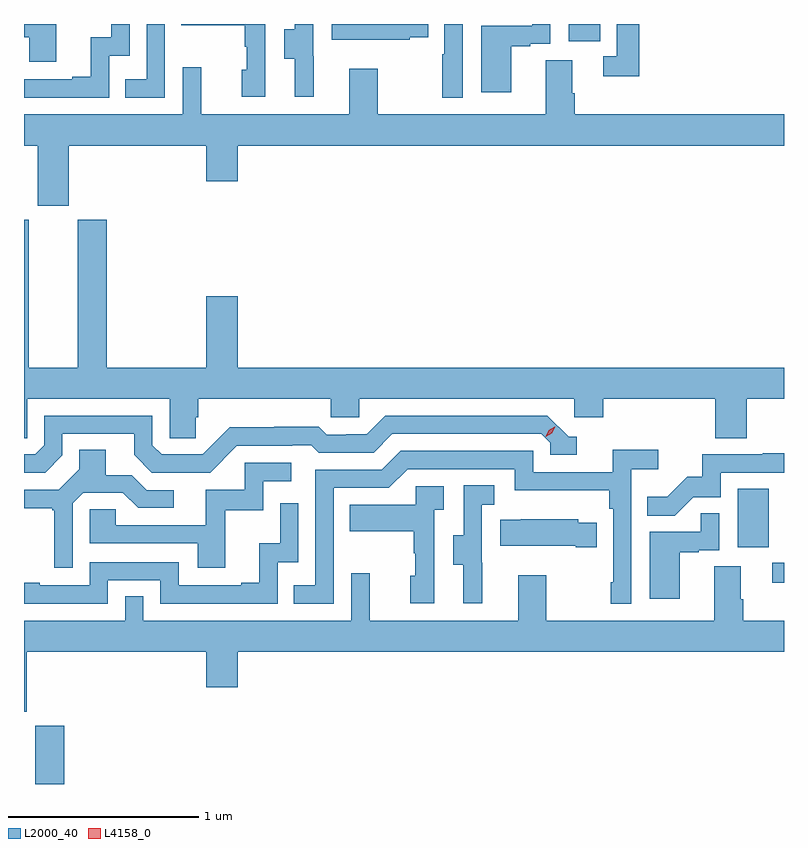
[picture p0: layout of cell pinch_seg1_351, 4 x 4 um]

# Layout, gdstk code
import gdstk
lib = gdstk.Library(unit=1e-6, precision=1e-09)
def R(c, l, rs):  # rectangles x0, y0, x1, y1
    for r in rs: c.add(gdstk.rectangle(r[:2], r[2:], *l))
def P(c, l, *ps):  # polygons
    for p in ps: c.add(gdstk.Polygon(p, *l))
L2000_40 = (2000, 40)
L4158_0 = (4158, 0)

pinch_seg1_351 = lib.new_cell('pinch_seg1_351')
R(pinch_seg1_351, L2000_40, [(1003.268,557.696,1003.421,558.003), (1007.145,558.756,1007.208,558.861), (1006.964,558.942,1007.128,559.249), (1006.076,561.606,1006.24,561.696)])
P(pinch_seg1_351, L2000_40, [(1004.732,561.525),(1004.73,561.525),(1004.73,561.696),(1004.634,561.696),(1004.634,561.669),(1004.579,561.669),(1004.579,561.514),(1004.633,561.514),(1004.633,561.312),(1004.732,561.312)],
  [(1004.478,561.696),(1004.035,561.696),(1004.035,561.689),(1004.37,561.689),(1004.37,561.575),(1004.38,561.575),(1004.38,561.456),(1004.354,561.456),(1004.354,561.312),(1004.478,561.312)],
  [(1005.516,561.696),(1005.42,561.696),(1005.42,561.536),(1005.408,561.536),(1005.408,561.309),(1005.516,561.309)],
  [(1003.95,561.696),(1003.854,561.696),(1003.854,561.405),(1003.741,561.405),(1003.741,561.309),(1003.95,561.309)],
  [(1005.237,561.625),(1005.335,561.625),(1005.335,561.696),(1004.827,561.696),(1004.827,561.614),(1005.237,561.614)],
  [(1005.772,561.579),(1005.872,561.579),(1005.872,561.591),(1005.978,561.591),(1005.978,561.696),(1005.883,561.696),(1005.883,561.687),(1005.614,561.687),(1005.614,561.336),(1005.772,561.336)],
  [(1006.445,561.696),(1006.329,561.696),(1006.329,561.525),(1006.257,561.525),(1006.257,561.42),(1006.445,561.42)],
  [(1003.379,561.696),(1003.208,561.696),(1003.208,561.627),(1003.235,561.627),(1003.235,561.498),(1003.379,561.498)],
  [(1003.656,561.528),(1003.764,561.528),(1003.764,561.696),(1003.668,561.696),(1003.668,561.626),(1003.559,561.626),(1003.559,561.418),(1003.463,561.418),(1003.463,561.405),(1003.208,561.405),(1003.208,561.309),(1003.656,561.309)],
  [(1003.444,561.056),(1004.168,561.056),(1004.168,560.868),(1004.332,560.868),(1004.332,561.056),(1007.208,561.056),(1007.208,561.22),(1006.106,561.22),(1006.106,561.332),(1006.093,561.332),(1006.093,561.506),(1005.953,561.506),(1005.953,561.22),(1005.069,561.22),(1005.069,561.46),(1004.921,561.46),(1004.921,561.22),(1004.141,561.22),(1004.141,561.469),(1004.043,561.469),(1004.043,561.22),(1003.208,561.22),(1003.208,561.056),(1003.28,561.056),(1003.28,560.739),(1003.444,560.739)],
  [(1003.643,560.667),(1003.49,560.667),(1003.49,559.888),(1003.234,559.888),(1003.234,560.667),(1003.208,560.667),(1003.208,559.516),(1003.224,559.516),(1003.224,559.724),(1003.974,559.724),(1003.974,559.516),(1004.111,559.516),(1004.111,559.626),(1004.126,559.626),(1004.126,559.724),(1004.823,559.724),(1004.823,559.626),(1004.973,559.626),(1004.973,559.724),(1006.104,559.724),(1006.104,559.626),(1006.256,559.626),(1006.256,559.724),(1006.847,559.724),(1006.847,559.516),(1007.012,559.516),(1007.012,559.724),(1007.208,559.724),(1007.208,559.888),(1004.332,559.888),(1004.332,560.263),(1004.168,560.263),(1004.168,559.888),(1003.643,559.888)],
  [(1003.41,559.425),(1003.41,559.539),(1003.787,559.539),(1003.787,559.429),(1003.881,559.335),(1004.187,559.335),(1004.328,559.476),(1004.621,559.476),(1004.621,559.479),(1004.72,559.479),(1004.759,559.44),(1005.048,559.44),(1005.147,559.539),(1005.93,559.539),(1005.978,559.491),(1005.978,559.428),(1006.117,559.428),(1006.117,559.524),(1006.074,559.524),(1005.963,559.635),(1005.11,559.635),(1005.011,559.536),(1004.904,559.536),(1004.904,559.533),(1004.801,559.533),(1004.759,559.576),(1004.526,559.576),(1004.526,559.573),(1004.29,559.573),(1004.148,559.431),(1003.932,559.431),(1003.884,559.479),(1003.884,559.635),(1003.314,559.635),(1003.314,559.479),(1003.266,559.431),(1003.208,559.431),(1003.208,559.335),(1003.32,559.335)],
  [(1003.464,559.173),(1003.521,559.23),(1003.727,559.23),(1003.808,559.149),(1003.996,559.149),(1003.996,559.242),(1003.854,559.242),(1003.774,559.322),(1003.639,559.322),(1003.639,559.454),(1003.499,559.454),(1003.499,559.352),(1003.392,559.245),(1003.208,559.245),(1003.208,559.148),(1003.356,559.148),(1003.356,559.137),(1003.367,559.137),(1003.367,558.834),(1003.464,558.834)],
  [(1004.838,559.254),(1005.129,559.254),(1005.228,559.353),(1005.792,559.353),(1005.792,559.241),(1006.288,559.241),(1006.288,559.145),(1006.308,559.145),(1006.308,558.757),(1006.296,558.757),(1006.296,558.645),(1006.404,558.645),(1006.404,559.352),(1006.546,559.352),(1006.546,559.454),(1006.307,559.454),(1006.307,559.338),(1005.888,559.338),(1005.888,559.449),(1005.191,559.449),(1005.092,559.35),(1004.742,559.35),(1004.742,558.741),(1004.629,558.741),(1004.629,558.645),(1004.838,558.645)],
  [(1006.731,559.206),(1006.875,559.206),(1006.875,559.335),(1007.208,559.335),(1007.208,559.436),(1007.095,559.436),(1007.095,559.431),(1006.777,559.431),(1006.777,559.314),(1006.7,559.314),(1006.593,559.207),(1006.489,559.207),(1006.489,559.108),(1006.633,559.108)],
  [(1004.267,559.137),(1004.466,559.137),(1004.466,559.29),(1004.614,559.29),(1004.614,559.386),(1004.37,559.386),(1004.37,559.245),(1004.165,559.245),(1004.165,559.059),(1003.691,559.059),(1003.691,559.143),(1003.554,559.143),(1003.554,558.963),(1004.123,558.963),(1004.123,558.834),(1004.267,558.834)],
  [(1005.62,558.861),(1005.618,558.861),(1005.618,559.165),(1005.682,559.165),(1005.682,559.268),(1005.522,559.268),(1005.522,559.005),(1005.467,559.005),(1005.467,558.85),(1005.521,558.85),(1005.521,558.648),(1005.62,558.648)],
  [(1005.366,559.139),(1005.418,559.139),(1005.418,559.263),(1005.27,559.263),(1005.27,559.165),(1004.923,559.165),(1004.923,559.025),(1005.258,559.025),(1005.258,558.911),(1005.268,558.911),(1005.268,558.792),(1005.242,558.792),(1005.242,558.648),(1005.366,558.648)],
  [(1003.65,558.768),(1003.926,558.768),(1003.926,558.645),(1004.544,558.645),(1004.544,558.864),(1004.652,558.864),(1004.652,559.174),(1004.556,559.174),(1004.556,558.962),(1004.447,558.962),(1004.447,558.754),(1004.351,558.754),(1004.351,558.741),(1004.022,558.741),(1004.022,558.864),(1003.554,558.864),(1003.554,558.741),(1003.291,558.741),(1003.291,558.754),(1003.208,558.754),(1003.208,558.645),(1003.65,558.645)],
  [(1006.66,558.915),(1006.76,558.915),(1006.76,558.927),(1006.866,558.927),(1006.866,559.121),(1006.771,559.121),(1006.771,559.023),(1006.502,559.023),(1006.502,558.672),(1006.66,558.672)],
  [(1006.223,559.072),(1006.125,559.072),(1006.125,559.09),(1005.823,559.09),(1005.823,559.087),(1005.715,559.087),(1005.715,558.95),(1006.112,558.95),(1006.112,558.943),(1006.223,558.943)],
  [(1003.222,558.392),(1004.168,558.392),(1004.168,558.204),(1004.332,558.204),(1004.332,558.392),(1007.208,558.392),(1007.208,558.556),(1006.994,558.556),(1006.994,558.668),(1006.981,558.668),(1006.981,558.842),(1006.841,558.842),(1006.841,558.556),(1005.957,558.556),(1005.957,558.796),(1005.809,558.796),(1005.809,558.556),(1005.029,558.556),(1005.029,558.805),(1004.931,558.805),(1004.931,558.556),(1003.836,558.556),(1003.836,558.683),(1003.74,558.683),(1003.74,558.556),(1003.208,558.556),(1003.208,558.075),(1003.222,558.075)])
P(pinch_seg1_351, L4158_0, [(1005.955,559.524),(1005.955,559.524),(1005.971,559.557),(1006.002,559.576),(1006.003,559.576),(1006.003,559.576),(1005.986,559.543),(1005.955,559.524)])

lib.write_gds('pinch_seg1_351.gds')
